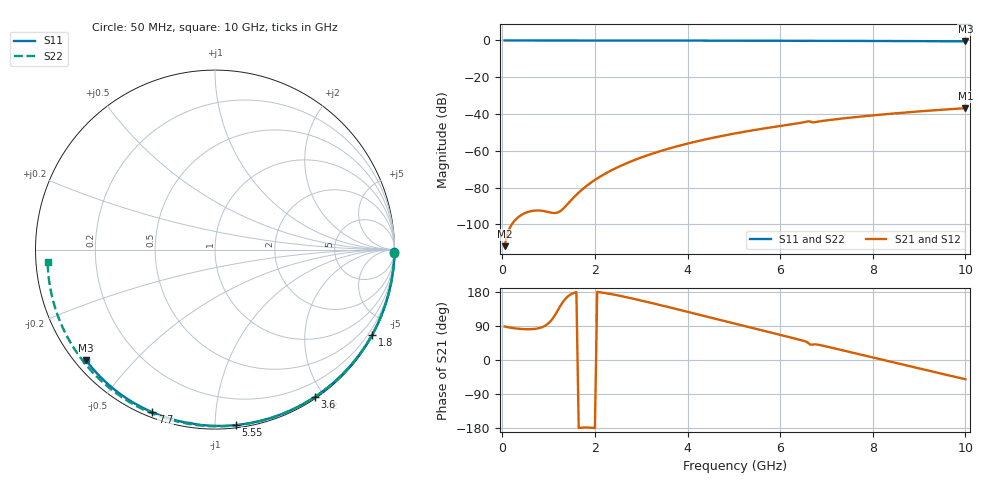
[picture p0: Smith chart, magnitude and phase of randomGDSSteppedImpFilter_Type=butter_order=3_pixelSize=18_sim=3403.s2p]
! freq	dB(S11)	phase(S11)	dB(S12)	phase(S12)
!  dB(S21)	phase(S21)	dB(S22)	phase(S22)
!S-par simulation data
#  GHz  S  DB  R 50
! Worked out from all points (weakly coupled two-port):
!   200 points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, 50 MHz to 10 GHz, reference 50 ohm
!   highest |S21| = -36.83 dB at 10 GHz (marker M1); lowest = -111.9 dB at 50 MHz (marker M2)
!   lowest |S11| = -0.5 dB at 10 GHz (marker M3), VSWR 36.69, Z = 1.55 - j18.5 ohm
!   |S11| at or under -10 dB: nowhere
!   |S22| runs from -0.6 to 0.0 dB; largest |S21 - S12| = 0
!   S11 on the Smith chart (normalised r, x): 50 MHz: open; 1.8 GHz: 0.03, -3.93; 3.6 GHz: 0.02, -1.89; 5.55 GHz: 0.02, -1.13; 7.7 GHz: 0.02, -0.69; 10 GHz: 0.03, -0.37
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0.05  -0.00 -0.8  -111.87 88.5  -111.87 88.5  -0.00 -1.0
0.45  -0.01 -7.3  -94.36 81.6  -94.36 81.6  -0.01 -8.9
0.85  -0.02 -13.6  -92.58 86.2  -92.58 86.2  -0.02 -16.8
1.3  -0.03 -20.7  -91.84 151.6  -91.84 151.6  -0.03 -25.5
1.75  -0.04 -27.8  -80.51 -178.3  -80.51 -178.3  -0.04 -34.2
1.8  -0.04 -28.6  -79.49 -178.2  -79.49 -178.2  -0.04 -35.1
1.95  -0.04 -30.9  -76.69 -179.0  -76.69 -179.0  -0.05 -38.0
2.1  -0.04 -33.2  -74.23 178.9  -74.23 178.9  -0.05 -40.8
2.45  -0.05 -38.6  -69.45 171.6  -69.45 171.6  -0.06 -47.4
2.9  -0.06 -45.4  -64.58 159.7  -64.58 159.7  -0.07 -55.7
3.4  -0.07 -52.8  -60.27 145.3  -60.27 145.3  -0.09 -64.8
3.6  -0.08 -55.8  -58.77 139.3  -58.77 139.3  -0.09 -68.4
4.3  -0.09 -65.9  -54.29 118.1  -54.29 118.1  -0.11 -80.7
5.05  -0.12 -76.4  -50.44 95.1  -50.44 95.1  -0.14 -93.5
5.55  -0.14 -83.2  -48.27 79.8  -48.27 79.8  -0.17 -101.8
6.4  -0.17 -94.5  -45.00 54.1  -45.00 54.1  -0.22 -115.8
6.6  -0.20 -97.2  -43.97 45.6  -43.97 45.6  -0.23 -119.0
6.7  -0.21 -98.3  -44.54 40.7  -44.54 40.7  -0.24 -120.6
7.7  -0.26 -111.1  -41.49 15.2  -41.49 15.2  -0.32 -136.8
8.35  -0.31 -119.2  -39.94 -3.7  -39.94 -3.7  -0.38 -147.4
9.2  -0.39 -129.6  -38.20 -28.1  -38.20 -28.1  -0.48 -161.7
10  -0.47 -139.3  -36.83 -50.7  -36.83 -50.7  -0.58 -175.7
